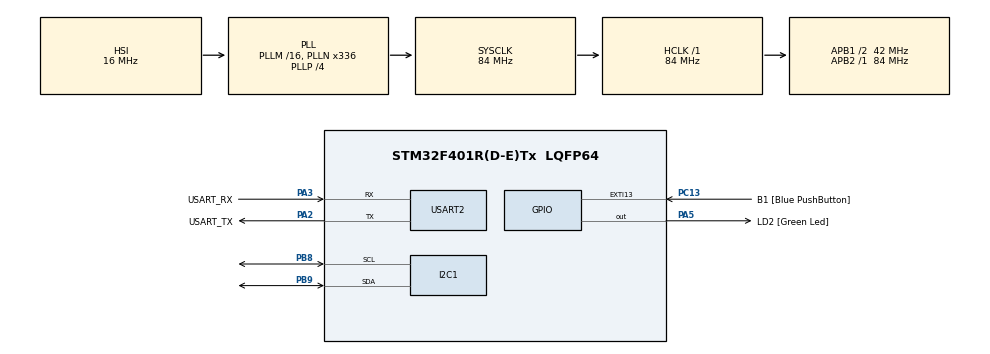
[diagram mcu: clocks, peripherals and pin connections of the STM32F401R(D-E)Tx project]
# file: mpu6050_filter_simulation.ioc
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Mcu.Family=STM32F4
Mcu.Name=STM32F401R(D-E)Tx
Mcu.Package=LQFP64
NVIC.PriorityGroup=NVIC_PRIORITYGROUP_0
PA13.GPIO_Label=TMS
PA13.Mode=Serial_Wire
PA13.Signal=SYS_JTMS-SWDIO
PA14.GPIO_Label=TCK
PA14.Mode=Serial_Wire
PA14.Signal=SYS_JTCK-SWCLK
PA2.GPIO_Label=USART_TX
PA2.GPIO_Mode=GPIO_MODE_AF_PP
PA2.GPIO_PuPd=GPIO_NOPULL
PA2.GPIO_Speed=GPIO_SPEED_FREQ_LOW
PA2.Mode=Asynchronous
PA2.Signal=USART2_TX
PA3.GPIO_Label=USART_RX
PA3.GPIO_Mode=GPIO_MODE_AF_PP
PA3.GPIO_PuPd=GPIO_NOPULL
PA3.GPIO_Speed=GPIO_SPEED_FREQ_LOW
PA3.Mode=Asynchronous
PA3.Signal=USART2_RX
PA5.GPIO_Label=LD2 [Green Led]
PA5.GPIO_Mode=GPIO_MODE_OUTPUT_PP
PA5.GPIO_PuPd=GPIO_NOPULL
PA5.GPIO_Speed=GPIO_SPEED_FREQ_LOW
PA5.Signal=GPIO_Output
PB3.GPIO_Label=SWO
PB3.Signal=SYS_JTDO-SWO
PB8.Mode=I2C
PB8.Signal=I2C1_SCL
PB9.Mode=I2C
PB9.Signal=I2C1_SDA
PC13-ANTI_TAMP.GPIO_Label=B1 [Blue PushButton]
PC13-ANTI_TAMP.GPIO_ModeDefaultEXTI=GPIO_MODE_IT_FALLING
PC13-ANTI_TAMP.GPIO_PuPd=GPIO_NOPULL
PC13-ANTI_TAMP.Signal=GPXTI13
PC14-OSC32_IN.Mode=LSE-External-Oscillator
PC14-OSC32_IN.Signal=RCC_OSC32_IN
PC15-OSC32_OUT.Mode=LSE-External-Oscillator
PC15-OSC32_OUT.Signal=RCC_OSC32_OUT
PH0\ -\ OSC_IN.Mode=HSE-External-Clock-Source
PH0\ -\ OSC_IN.Signal=RCC_OSC_IN
PH1\ -\ OSC_OUT.Mode=HSE-External-Clock-Source
PH1\ -\ OSC_OUT.Signal=RCC_OSC_OUT
ProjectManager.HeapSize=0x200
ProjectManager.StackSize=0x400
ProjectManager.TargetToolchain=STM32CubeIDE
RCC.48MHZClocksFreq_Value=48000000
RCC.AHBFreq_Value=84000000
RCC.APB1CLKDivider=RCC_HCLK_DIV2
RCC.APB1Freq_Value=42000000
RCC.APB1TimFreq_Value=84000000
RCC.APB2Freq_Value=84000000
RCC.APB2TimFreq_Value=84000000
RCC.CortexFreq_Value=84000000
RCC.HCLKFreq_Value=84000000
RCC.HSE_VALUE=8000000
RCC.HSI_VALUE=16000000
RCC.PLLN=336
RCC.PLLP=RCC_PLLP_DIV4
RCC.PLLQ=7
RCC.SYSCLKFreq_VALUE=84000000
RCC.SYSCLKSource=RCC_SYSCLKSOURCE_PLLCLK
RCC.VCOOutputFreq_Value=336000000
USART2.VirtualMode=VM_ASYNC
board=NUCLEO-F401RE

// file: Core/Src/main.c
/* USER CODE BEGIN Header */
/**
  ******************************************************************************
  * @file           : main.c
  * @brief          : Main program body
  ******************************************************************************
  * @attention
  *
  * Copyright (c) 2024 STMicroelectronics.
  * All rights reserved.
  *
  * This software is licensed under terms that can be found in the LICENSE file
  * in the root directory of this software component.
  * If no LICENSE file comes with this software, it is provided AS-IS.
  *
  ******************************************************************************
  */
/* USER CODE END Header */
#include "main.h"
#include <stdio.h>
#include <string.h>
#include "RCFilter.h"

I2C_HandleTypeDef hi2c1;

UART_HandleTypeDef huart2;
RCFilter lpFilter;

void SystemClock_Config(void);
static void MX_GPIO_Init(void);
static void MX_USART2_UART_Init(void);
static void MX_I2C1_Init(void);

/* USER CODE BEGIN 0 */
static const uint8_t MPU6050_ADDR = 0x68<<1;
static const uint8_t WHO_AM_I = 0x75;
static const uint8_t ACCEL_ZOUT_L = 0x40;
static const uint8_t ACCEL_ZOUT_H = 0x3F;
static const uint8_t ACCEL_XOUT_L = 0x3C;
static const uint8_t ACCEL_XOUT_H = 0x3B;
static const uint8_t ACCEL_CONFIG = 0x1C;

/* USER CODE END 0 */

int main(void)
{

  /* MCU Configuration--------------------------------------------------------*/

  /* Reset of all peripherals, Initializes the Flash interface and the Systick. */
  HAL_Init();

  /* USER CODE BEGIN Init */
  RCFilter_Init(&lpFilter, 2.0f, 0.01f);

  /* USER CODE END Init */

  /* Configure the system clock */
  SystemClock_Config();

  /* Initialize all configured peripherals */
  MX_GPIO_Init();
  MX_USART2_UART_Init();
  MX_I2C1_Init();
  /* USER CODE BEGIN 2 */
  uint8_t buff[50];
  uint8_t buff1[12];
  uint8_t buff2[12];
  uint8_t accel_buff1[12];
  uint8_t accel_buff2[12];
  HAL_StatusTypeDef ret;
  int16_t accel_val;

  uint8_t pwr_data = 0x00;

  ret = HAL_I2C_Mem_Write(&hi2c1, MPU6050_ADDR, 0x6B, 1, &pwr_data, 1, 100);

  if(ret == HAL_OK){

  	  strcpy((char*)buff, "Device is awake\r\n");
    }
    else{
  	  strcpy((char*)buff, "Problem setting the sleep bit\r\n");
    }

  HAL_UART_Transmit(&huart2, buff, strlen((buff)), HAL_MAX_DELAY);

  HAL_Delay(500);

  uint8_t accel_init = 0x00;

  ret = HAL_I2C_Mem_Write(&hi2c1, MPU6050_ADDR, ACCEL_CONFIG, 1, &accel_init, 1, 100);

  if(ret == HAL_OK){

  	  strcpy((char*)buff, "Acceleration is configured\r\n");
    }
    else{
  	  strcpy((char*)buff, "Problem configuring the acceleration\r\n");
    }

  HAL_UART_Transmit(&huart2, buff, strlen((buff)), HAL_MAX_DELAY);

  //HAL_Delay(500);

  /* USER CODE END 2 */

  /* Infinite loop */
  /* USER CODE BEGIN WHILE */
  while (1)
  {

	// Reads data sequentially from MPU6050 depending on how many bytes you specify
	ret = HAL_I2C_Mem_Read(&hi2c1, MPU6050_ADDR, ACCEL_ZOUT_H, I2C_MEMADD_SIZE_8BIT , buff1, 2, 10000);

	if(ret != HAL_OK){
		strcpy((char*)buff, "Error Receiving 1st byte\r\n");

	}
	else{

		;
	}

	/*ret = HAL_I2C_Mem_Read(&hi2c1, MPU6050_ADDR, ACCEL_ZOUT_H, I2C_MEMADD_SIZE_8BIT , buff2, 1, 10000);

	if(ret != HAL_OK){
		strcpy((char*)buff, "Error Receiving 2nd byte\r\n");

	}
	else{
		;
	}
*/

	//combine the two bytes
	accel_val = ((buff1[0] << 8) | buff1[1]);

	//
	float accel_val_flt = accel_val/16384.0; //why 0.000061 ?
	sprintf(accel_buff1, "%.2f\r\n", accel_val_flt);

	//HAL_UART_Transmit(&huart2, accel_buff1, strlen((accel_buff1)), HAL_MAX_DELAY);
	//HAL_Delay(500);

	float filtered_val = RCFilter_Update(&lpFilter, accel_val_flt);
	sprintf(accel_buff2, "%.2f\r\n", filtered_val);

	//HAL_UART_Transmit(&huart2, accel_buff2, strlen((accel_buff2)), HAL_MAX_DELAY);
	//HAL_Delay(500);

	char logBuf[128];

	sprintf(logBuf, "%.2f, %.2f\r\n", accel_val_flt, filtered_val);

	HAL_UART_Transmit(&huart2, logBuf, strlen((logBuf)), HAL_MAX_DELAY);
	HAL_Delay(500);

  }
}

void SystemClock_Config(void)
{
  RCC_OscInitTypeDef RCC_OscInitStruct = {0};
  RCC_ClkInitTypeDef RCC_ClkInitStruct = {0};

  /** Configure the main internal regulator output voltage
  */
  __HAL_RCC_PWR_CLK_ENABLE();
  __HAL_PWR_VOLTAGESCALING_CONFIG(PWR_REGULATOR_VOLTAGE_SCALE2);

  /** Initializes the RCC Oscillators according to the specified parameters
  * in the RCC_OscInitTypeDef structure.
  */
  RCC_OscInitStruct.OscillatorType = RCC_OSCILLATORTYPE_HSI;
  RCC_OscInitStruct.HSIState = RCC_HSI_ON;
  RCC_OscInitStruct.HSICalibrationValue = RCC_HSICALIBRATION_DEFAULT;
  RCC_OscInitStruct.PLL.PLLState = RCC_PLL_ON;
  RCC_OscInitStruct.PLL.PLLSource = RCC_PLLSOURCE_HSI;
  RCC_OscInitStruct.PLL.PLLM = 16;
  RCC_OscInitStruct.PLL.PLLN = 336;
  RCC_OscInitStruct.PLL.PLLP = RCC_PLLP_DIV4;
  RCC_OscInitStruct.PLL.PLLQ = 7;
  if (HAL_RCC_OscConfig(&RCC_OscInitStruct) != HAL_OK)
  {
    Error_Handler();
  }

  /** Initializes the CPU, AHB and APB buses clocks
  */
  RCC_ClkInitStruct.ClockType = RCC_CLOCKTYPE_HCLK|RCC_CLOCKTYPE_SYSCLK
                              |RCC_CLOCKTYPE_PCLK1|RCC_CLOCKTYPE_PCLK2;
  RCC_ClkInitStruct.SYSCLKSource = RCC_SYSCLKSOURCE_PLLCLK;
  RCC_ClkInitStruct.AHBCLKDivider = RCC_SYSCLK_DIV1;
  RCC_ClkInitStruct.APB1CLKDivider = RCC_HCLK_DIV2;
  RCC_ClkInitStruct.APB2CLKDivider = RCC_HCLK_DIV1;

  if (HAL_RCC_ClockConfig(&RCC_ClkInitStruct, FLASH_LATENCY_2) != HAL_OK)
  {
    Error_Handler();
  }
}

static void MX_I2C1_Init(void)
{

  hi2c1.Instance = I2C1;
  hi2c1.Init.ClockSpeed = 100000;
  hi2c1.Init.DutyCycle = I2C_DUTYCYCLE_2;
  hi2c1.Init.OwnAddress1 = 0;
  hi2c1.Init.AddressingMode = I2C_ADDRESSINGMODE_7BIT;
  hi2c1.Init.DualAddressMode = I2C_DUALADDRESS_DISABLE;
  hi2c1.Init.OwnAddress2 = 0;
  hi2c1.Init.GeneralCallMode = I2C_GENERALCALL_DISABLE;
  hi2c1.Init.NoStretchMode = I2C_NOSTRETCH_DISABLE;
  if (HAL_I2C_Init(&hi2c1) != HAL_OK)
  {
    Error_Handler();
  }

}

static void MX_USART2_UART_Init(void)
{

  huart2.Instance = USART2;
  huart2.Init.BaudRate = 115200;
  huart2.Init.WordLength = UART_WORDLENGTH_8B;
  huart2.Init.StopBits = UART_STOPBITS_1;
  huart2.Init.Parity = UART_PARITY_NONE;
  huart2.Init.Mode = UART_MODE_TX_RX;
  huart2.Init.HwFlowCtl = UART_HWCONTROL_NONE;
  huart2.Init.OverSampling = UART_OVERSAMPLING_16;
  if (HAL_UART_Init(&huart2) != HAL_OK)
  {
    Error_Handler();
  }

}

static void MX_GPIO_Init(void)
{
  GPIO_InitTypeDef GPIO_InitStruct = {0};

  /* GPIO Ports Clock Enable */
  __HAL_RCC_GPIOC_CLK_ENABLE();
  __HAL_RCC_GPIOH_CLK_ENABLE();
  __HAL_RCC_GPIOA_CLK_ENABLE();
  __HAL_RCC_GPIOB_CLK_ENABLE();

  /*Configure GPIO pin Output Level */
  HAL_GPIO_WritePin(LD2_GPIO_Port, LD2_Pin, GPIO_PIN_RESET);

  /*Configure GPIO pin : B1_Pin */
  GPIO_InitStruct.Pin = B1_Pin;
  GPIO_InitStruct.Mode = GPIO_MODE_IT_FALLING;
  GPIO_InitStruct.Pull = GPIO_NOPULL;
  HAL_GPIO_Init(B1_GPIO_Port, &GPIO_InitStruct);

  /*Configure GPIO pin : LD2_Pin */
  GPIO_InitStruct.Pin = LD2_Pin;
  GPIO_InitStruct.Mode = GPIO_MODE_OUTPUT_PP;
  GPIO_InitStruct.Pull = GPIO_NOPULL;
  GPIO_InitStruct.Speed = GPIO_SPEED_FREQ_LOW;
  HAL_GPIO_Init(LD2_GPIO_Port, &GPIO_InitStruct);

}

void Error_Handler(void)
{
  __disable_irq();
  while (1)
  {
  }
}
